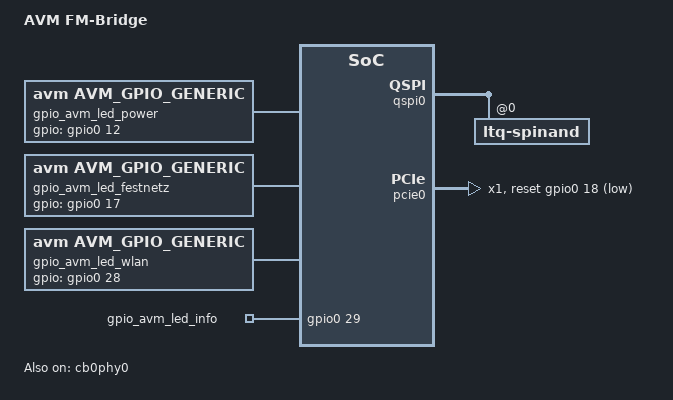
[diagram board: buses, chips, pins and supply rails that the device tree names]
#include "prx_common.dtsi"

/ {
	model = "AVM FM-Bridge";

	avm-gpio {
		compatible = "simple-bus";

		gpio_avm_led_power {
			compatible = "avm,avm_gpio_generic";
			gpio = <&gpio0 12 GPIO_ACTIVE_HIGH>;
			avm,output;
		};
		gpio_avm_led_festnetz {
			compatible = "avm,avm_gpio_generic";
			gpio = <&gpio0 17 GPIO_ACTIVE_HIGH>;
			avm,output;
		};
		gpio_avm_led_wlan {
			compatible = "avm,avm_gpio_generic";
			gpio = <&gpio0 28 GPIO_ACTIVE_HIGH>;
			avm,output;
		};
		gpio_avm_led_info {
			compatible = "avm,avm_gpio_generic";
			gpio = <&gpio0 29 GPIO_ACTIVE_HIGH>;
			avm,output;
		};
	};
};

&qspi0 {
	status = "okay";

	ltq-spinand@0 {
		// alle Karten mit Micron SPI NAND
		page-size = <2176>;
		spi-tx-bus-width = <4>;
		spi-rx-bus-width = <4>;
	};
};

&cb0phy0 {
	status = "okay";
	intel,mode = <0>; /*0-pcie, 1-xpcs*/
};

&pcie0 {
	status = "okay";
	intel,rst-interval = <200>;
	intel,inbound-swap = <1>;
	intel,outbound-swap = <0>;
	num-lanes = <1>;
	reset-gpio = <&gpio0 18 GPIO_ACTIVE_LOW>;
};
